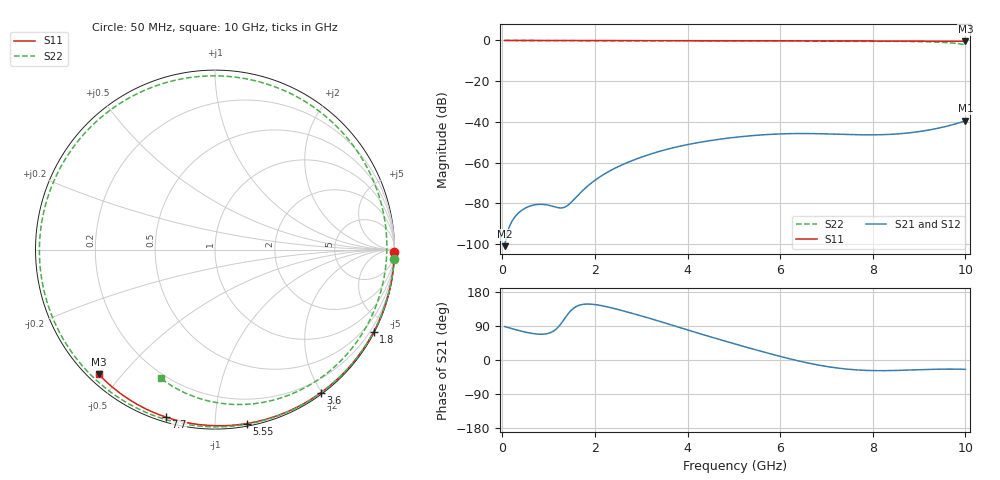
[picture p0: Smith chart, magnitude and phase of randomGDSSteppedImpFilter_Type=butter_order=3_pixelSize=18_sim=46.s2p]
! freq	dB(S11)	phase(S11)	dB(S12)	phase(S12)
!  dB(S21)	phase(S21)	dB(S22)	phase(S22)
!S-par simulation data
#  GHz  S  DB  R 50
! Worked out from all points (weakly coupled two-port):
!   200 points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, 50 MHz to 10 GHz, reference 50 ohm
!   highest |S21| = -39.43 dB at 10 GHz (marker M1); lowest = -101.0 dB at 50 MHz (marker M2)
!   lowest |S11| = -0.4 dB at 10 GHz (marker M3), VSWR 38.64, Z = 1.54 - j21.7 ohm
!   |S11| at or under -10 dB: nowhere
!   |S22| runs from -2.2 to 0.0 dB; largest |S21 - S12| = 0
!   S11 on the Smith chart (normalised r, x): 50 MHz: open; 1.8 GHz: 0.04, -4.11; 3.6 GHz: 0.02, -1.99; 5.55 GHz: 0.02, -1.20; 7.7 GHz: 0.02, -0.75; 10 GHz: 0.03, -0.43
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0.05  -0.00 -0.8  -101.00 88.3  -101.00 88.3  -0.00 -2.9
0.4  -0.01 -6.1  -83.73 76.5  -83.73 76.5  -0.03 -22.5
0.8  -0.02 -12.3  -80.46 68.1  -80.46 68.1  -0.06 -44.5
1.45  -0.03 -22.1  -80.27 126.2  -80.27 126.2  -0.09 -78.6
1.75  -0.03 -26.6  -73.39 146.9  -73.39 146.9  -0.11 -93.4
1.8  -0.03 -27.3  -72.35 147.5  -72.35 147.5  -0.11 -95.8
2.2  -0.04 -33.2  -65.64 142.0  -65.64 142.0  -0.13 -114.5
2.65  -0.05 -39.8  -60.44 128.3  -60.44 128.3  -0.15 -134.6
3.4  -0.07 -50.6  -54.42 101.9  -54.42 101.9  -0.18 -166.3
3.6  -0.07 -53.4  -53.19 94.4  -53.19 94.4  -0.18 -174.5
4.3  -0.09 -63.1  -49.87 68.2  -49.87 68.2  -0.21 157.1
5.05  -0.11 -73.2  -47.50 41.4  -47.50 41.4  -0.25 126.7
5.55  -0.13 -79.7  -46.45 24.3  -46.45 24.3  -0.27 106.2
6.1  -0.15 -86.7  -45.81 6.4  -45.81 6.4  -0.29 83.4
6.7  -0.18 -94.2  -45.73 -10.4  -45.73 -10.4  -0.30 58.2
7.2  -0.21 -100.3  -46.01 -20.7  -46.01 -20.7  -0.32 37.2
7.7  -0.24 -106.3  -46.30 -26.5  -46.30 -26.5  -0.35 16.1
8.35  -0.29 -114.0  -46.13 -28.0  -46.13 -28.0  -0.41 -11.5
8.95  -0.34 -121.0  -44.90 -25.9  -44.90 -25.9  -0.56 -38.7
9.45  -0.39 -126.7  -42.89 -24.2  -42.89 -24.2  -0.87 -65.9
9.75  -0.42 -130.2  -41.20 -24.0  -41.20 -24.0  -1.33 -87.6
10  -0.45 -133.0  -39.43 -24.7  -39.43 -24.7  -2.17 -112.8
